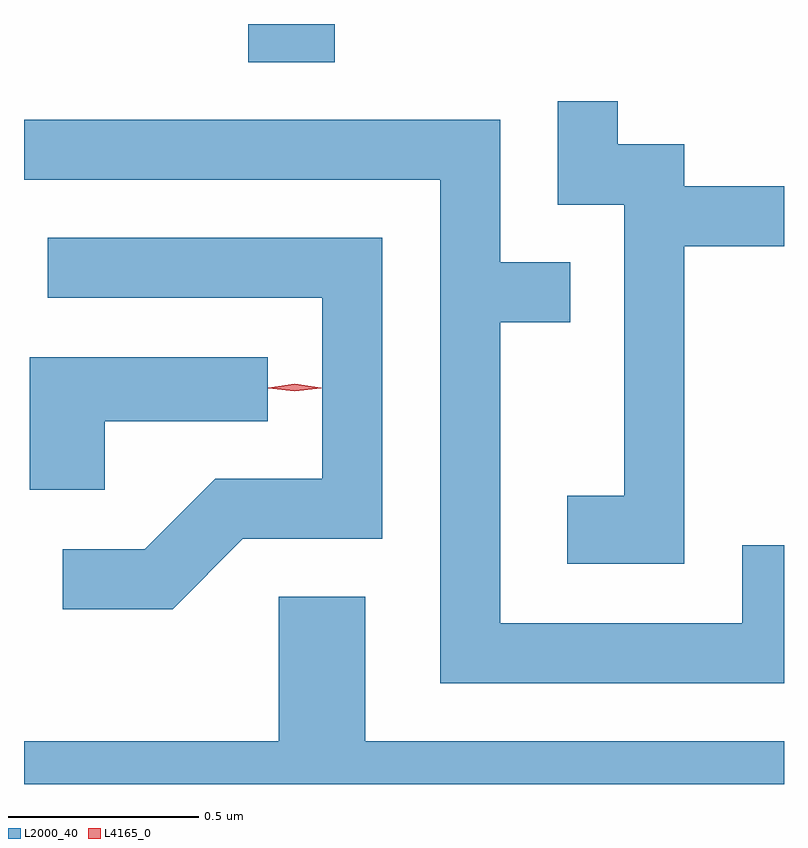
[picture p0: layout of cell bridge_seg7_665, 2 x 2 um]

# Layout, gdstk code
import gdstk
lib = gdstk.Library(unit=1e-6, precision=1e-09)
def R(c, l, rs):  # rectangles x0, y0, x1, y1
    for r in rs: c.add(gdstk.rectangle(r[:2], r[2:], *l))
def P(c, l, *ps):  # polygons
    for p in ps: c.add(gdstk.Polygon(p, *l))
L2000_40 = (2000, 40)
L4165_0 = (4165, 0)

bridge_seg7_665 = lib.new_cell('bridge_seg7_665')
R(bridge_seg7_665, L2000_40, [(700.201,1696.391,700.429,1696.491)])
P(bridge_seg7_665, L2000_40, [(701.349,1695.906),(701.611,1695.906),(701.611,1696.064),(701.349,1696.064),(701.349,1696.174),(701.174,1696.174),(701.174,1696.288),(701.016,1696.288),(701.016,1696.016),(701.191,1696.016),(701.191,1695.249),(701.041,1695.249),(701.041,1695.071),(701.349,1695.071)],
  [(701.611,1695.119),(701.501,1695.119),(701.501,1694.914),(700.864,1694.914),(700.864,1695.706),(701.048,1695.706),(701.048,1695.864),(700.864,1695.864),(700.864,1696.239),(699.611,1696.239),(699.611,1696.081),(700.706,1696.081),(700.706,1694.756),(701.611,1694.756)],
  [(700.187,1695.136),(700.554,1695.136),(700.554,1695.929),(699.673,1695.929),(699.673,1695.771),(700.396,1695.771),(700.396,1695.294),(700.114,1695.294),(699.929,1695.109),(699.713,1695.109),(699.713,1694.951),(700.002,1694.951)],
  [(699.824,1695.446),(700.253,1695.446),(700.253,1695.614),(699.626,1695.614),(699.626,1695.266),(699.824,1695.266)],
  [(701.611,1694.604),(700.509,1694.604),(700.509,1694.984),(700.281,1694.984),(700.281,1694.604),(699.611,1694.604),(699.611,1694.491),(701.611,1694.491)])
P(bridge_seg7_665, L4165_0, [(700.324,1695.524),(700.254,1695.533),(700.254,1695.534),(700.254,1695.534),(700.324,1695.544),(700.393,1695.534),(700.393,1695.534),(700.393,1695.533)])

lib.write_gds('bridge_seg7_665.gds')
